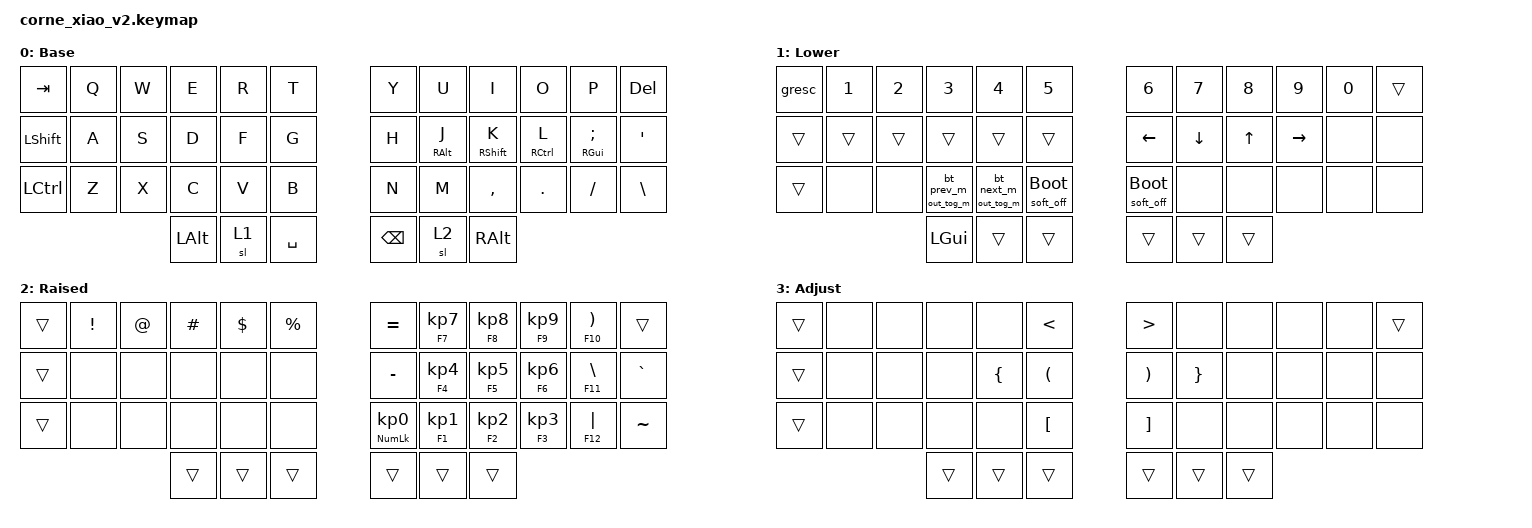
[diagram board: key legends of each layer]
#include <behaviors.dtsi>
#include <dt-bindings/zmk/bt.h>
#include <dt-bindings/zmk/keys.h>
#include <dt-bindings/zmk/outputs.h>

&mt { flavor = "tap-preferred"; };

/ {
    combos {
        compatible = "zmk,combos";

        Enter {
            bindings = <&kp ENTER>;
            key-positions = <21 20>;
        };

        bt_clear_cb {
            bindings = <&bt_clr_mt 0 0>;
            key-positions = <27 28>;
        };
    };

    behaviors {
        hrm_l: hrm_l {
            compatible = "zmk,behavior-hold-tap";
            label = "Home Row Mods Left";
            bindings = <&kp>, <&kp>;

            #binding-cells = <2>;
            tapping-term-ms = <280>;
            quick-tap-ms = <175>;
            flavor = "tap-preferred";
            hold-trigger-key-positions = <36 37 38 39 40 41 6 7 8 9 10 18 19 20 21 22 30 31 32 33 34 39 40 41>;
            hold-trigger-on-release;
        };

        hrm_r: hrm_r {
            compatible = "zmk,behavior-hold-tap";
            label = "Home Row Mods Right";
            bindings = <&kp>, <&kp>;

            #binding-cells = <2>;
            tapping-term-ms = <280>;
            quick-tap-ms = <175>;
            flavor = "tap-preferred";
            hold-trigger-key-positions = <1 2 3 4 5 13 14 15 16 17 25 26 27 28 29 36 37 38 39 40 41>;
            hold-trigger-on-release;
        };

        boot_mt: boot_mt {
            compatible = "zmk,behavior-hold-tap";
            label = "BOOT_MT";
            bindings = <&soft_off>, <&bootloader>;

            #binding-cells = <2>;
            tapping-term-ms = <280>;
            quick-tap-ms = <175>;
            flavor = "hold-preferred";
            hold-trigger-key-positions = <29 30 36 37 38 39 40 41>;
        };

        bt_prev_out: bt_prev_out {
            compatible = "zmk,behavior-hold-tap";
            label = "BT_PREV_OUT";
            bindings = <&out_tog_m>, <&bt_prev_m>;

            #binding-cells = <2>;
            tapping-term-ms = <280>;
            quick-tap-ms = <175>;
            flavor = "tap-preferred";
            hold-trigger-key-positions = <27 36 37 38 39 40 41>;
        };

        bt_next_out: bt_next_out {
            compatible = "zmk,behavior-hold-tap";
            label = "BT_NEXT_OUT";
            bindings = <&out_tog_m>, <&bt_next_m>;

            #binding-cells = <2>;
            tapping-term-ms = <280>;
            quick-tap-ms = <175>;
            flavor = "tap-preferred";
            hold-trigger-key-positions = <28 36 37 38 39 40 41>;
        };

        bt_clr_mt: bt_clr_mt {
            compatible = "zmk,behavior-hold-tap";
            label = "BT_CLR_MT";
            bindings = <&none>, <&bt_clr_m>;

            #binding-cells = <2>;
            tapping-term-ms = <280>;
            quick-tap-ms = <175>;
            flavor = "tap-preferred";
            hold-trigger-key-positions = <28 27 36 36 37 39 40 41 38>;
            hold-trigger-on-release;
            require-prior-idle-ms = <150>;
        };
    };

    macros {
        bt_next_m: bt_next_m {
            compatible = "zmk,behavior-macro";
            #binding-cells = <0>;
            bindings = <&bt BT_NXT>;
        };

        bt_prev_m: bt_prev_m {
            compatible = "zmk,behavior-macro";
            #binding-cells = <0>;
            bindings = <&bt BT_PRV>;
        };

        bt_clr_m: bt_clr_m {
            compatible = "zmk,behavior-macro";
            #binding-cells = <0>;
            bindings = <&bt BT_CLR>;
        };

        out_tog_m: out_tog_m {
            compatible = "zmk,behavior-macro";
            #binding-cells = <0>;
            bindings = <&out OUT_TOG>;
        };
    };

    keymap {
        compatible = "zmk,keymap";

        default_layer {
            display-name = "Base";

            // -----------------------------------------------------------------------------------------
            // |  TAB |  Q  |  W  |  E  |  R  |  T  |   |  Y  |  U   |  I  |  O  |  P  | BSPC |
            // | SHFT |  A  |  S  |  D  |  F  |  G  |   |  H  |  J   |  K  |  L  |  ;  |  '   |
            // | CTRL |  Z  |  X  |  C  |  V  |  B  |   |  N  |  M   |  ,  |  .  |  /  |  \   |
            //                    | LALT| LWR | SPC |   | BSPC| RSE  | RALT|

            bindings = <
&kp TAB    &kp Q  &kp W  &kp E     &kp R  &kp T        &kp Y          &kp U          &kp I            &kp O           &kp P             &kp DELETE
&kp LSHFT  &kp A  &kp S  &kp D     &kp F  &kp G        &kp H          &hrm_r RALT J  &hrm_r RSHIFT K  &hrm_r RCTRL L  &hrm_r RGUI SEMI  &kp SQT
&kp LCTRL  &kp Z  &kp X  &kp C     &kp V  &kp B        &kp N          &kp M          &kp COMMA        &kp DOT         &kp FSLH          &kp BSLH
                         &kp LALT  &sl 1  &kp SPACE    &kp BACKSPACE  &sl 2          &kp RALT
            >;
        };

        lower_layer {
            display-name = "Lower";

            // -----------------------------------------------------------------------------------------
            // |GRESC |  1  |  2  |  3  |  4  |  5  |   |  6  |  7  |  8  |  9  |  0  |      |
            // |      |     |     |     |     |     |   | LFT | DWN |  UP | RGT |     |      |
            // |      |     |     | <BT | BT> | BOOT|   | BOOT|     |     |     |     |      |
            //                    | GUI |     |     |   |     |     |     |

            bindings = <
&gresc  &kp N1  &kp N2  &kp N3            &kp N4            &kp N5          &kp N6        &kp N7    &kp N8  &kp N9     &kp N0  &trans
&trans  &trans  &trans  &trans            &trans            &trans          &kp LEFT      &kp DOWN  &kp UP  &kp RIGHT  &none   &none
&trans  &none   &none   &bt_prev_out 0 0  &bt_next_out 0 0  &boot_mt 0 0    &boot_mt 0 0  &none     &none   &none      &none   &none
                        &kp LGUI          &trans            &trans          &trans        &trans    &trans
            >;

            label = "Lowered";
        };

        raise_layer {
            display-name = "Raised";

            // -----------------------------------------------------------------------------------------
            // |  TAB |  !  |  @  |  #  |  $  |  %  |   |  +  |  7  |  8  |  9  |  )  |      |
            // | SHFT |     |     |     |     |     |   |  -  |  4  |  5  |  6  |  \  |  `   |
            // | CTRL |     |     |     |     |     |   |  0  |  1  |  2  |  3  |  |  |  ~   |
            //                    |     |     |     |   | DEL |     |     |

            bindings = <
&trans  &kp EXCL  &kp AT  &kp HASH  &kp DLLR  &kp PRCNT    &kp EQUAL                   &mt F7 KP_NUMBER_7  &mt F8 KP_NUMBER_8  &mt F9 KP_NUMBER_9  &mt F10 RPAR  &trans
&trans  &none     &none   &none     &none     &none        &kp MINUS                   &mt F4 KP_NUMBER_4  &mt F5 KP_NUMBER_5  &mt F6 KP_NUMBER_6  &mt F11 BSLH  &kp GRAVE
&trans  &none     &none   &none     &none     &none        &mt KP_NUMLOCK KP_NUMBER_0  &mt F1 KP_NUMBER_1  &mt F2 KP_NUMBER_2  &mt F3 KP_NUMBER_3  &mt F12 PIPE  &kp TILDE
                          &trans    &trans    &trans       &trans                      &trans              &trans
            >;
        };

        adjust_layer {
            bindings = <
&trans  &none  &none  &none   &none           &kp LESS_THAN           &kp GREATER_THAN       &none            &none   &none  &none  &trans
&trans  &none  &none  &none   &kp LEFT_BRACE  &kp LEFT_PARENTHESIS    &kp RIGHT_PARENTHESIS  &kp RIGHT_BRACE  &none   &none  &none  &none
&trans  &none  &none  &none   &none           &kp LEFT_BRACKET        &kp RIGHT_BRACKET      &none            &none   &none  &none  &none
                      &trans  &trans          &trans                  &trans                 &trans           &trans
            >;

            label = "Adjust";
        };

        extra1 {
            display-name = "extra1";
            status = "reserved";
        };

        extra2 {
            display-name = "extra2";
            status = "reserved";
        };
    };

    conditional_layers {
        compatible = "zmk,conditional-layers";

        Adjust_layer {
            if-layers = <1 2>;
            then-layer = <3>;
        };
    };
};
